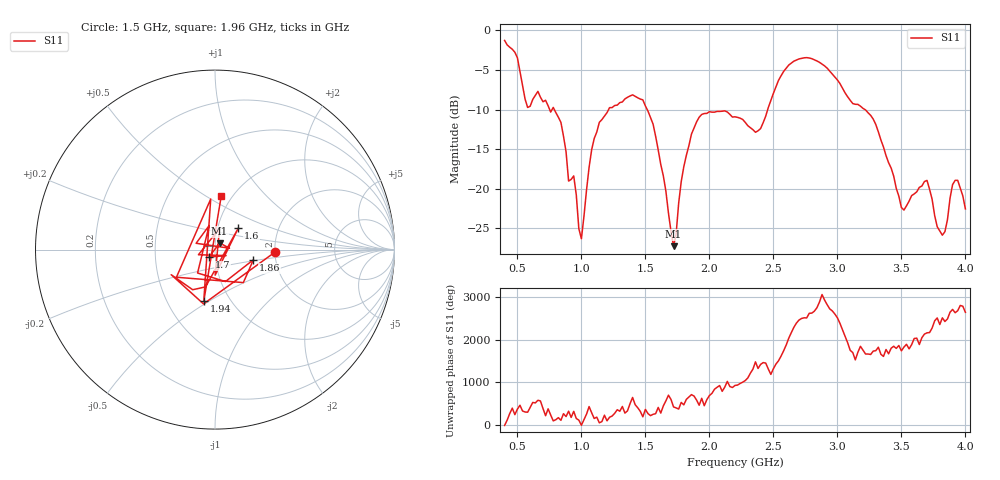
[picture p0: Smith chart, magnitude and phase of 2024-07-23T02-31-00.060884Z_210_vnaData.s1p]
!Created with skrf (http://scikit-rf.org).
# Hz S RI R 50.0
!freq ReS11 ImS11
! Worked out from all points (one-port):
!   181 points, 400 MHz to 4 GHz, reference 50 ohm
!   lowest |S11| = -27.3 dB at 1.72 GHz (marker M1), VSWR 1.09, Z = 52.4 + j3.71 ohm
!   |S11| at or under -10 dB: 788.3 MHz to 1.212 GHz (424.1 MHz wide, 42.4 % of centre); 1.514 GHz to 2.455 GHz (941.5 MHz wide, 47.4 % of centre); 3.215 GHz to end of sweep (the widest 3 of 4)
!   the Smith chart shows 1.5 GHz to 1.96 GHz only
!   S11 on the Smith chart (normalised r, x): 1.5 GHz: 2.00, -0.07; 1.6 GHz: 1.26, +0.31; 1.7 GHz: 0.93, -0.08; 1.86 GHz: 1.53, -0.18; 1.94 GHz: 0.75, -0.47; 1.96 GHz: 0.89, +0.58
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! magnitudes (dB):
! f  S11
! 400 MHz  -1.3
! 500 MHz  -3.5
! 580 MHz  -9.7
! 660 MHz  -7.7
! 860 MHz  -13.4
! 940 MHz  -18.4
! 1 GHz  -26.3
! 1.1 GHz  -13.7
! 1.3 GHz  -9.1
! 1.5 GHz  -9.6
! 1.6 GHz  -15.1
! 1.7 GHz  -25.4
! 1.72 GHz  -27.3
! 1.76 GHz  -21.8
! 1.86 GHz  -13.1
! 1.94 GHz  -10.6
! 1.96 GHz  -10.5
! 2.2 GHz  -10.9
! 2.4 GHz  -12.4
! 2.66 GHz  -3.9
! 3.1 GHz  -8.8
! 3.28 GHz  -11.2
! 3.5 GHz  -22.4
! 3.56 GHz  -21.6
! 3.7 GHz  -18.9
! 3.82 GHz  -25.9
! 3.92 GHz  -18.9
! 4 GHz  -22.5
